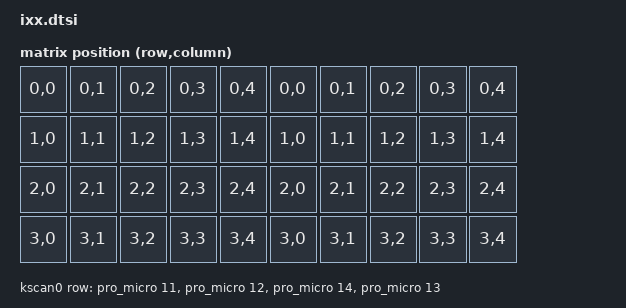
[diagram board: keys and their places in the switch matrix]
/*
 * Copyright (c) 2020 The ZMK Contributors
 *
 * SPDX-License-Identifier: MIT
 */

#include <dt-bindings/zmk/matrix_transform.h>

/ {
    chosen {
        zmk,kscan = &kscan0;
        zmk,matrix_transform = &default_transform;
    };

    default_transform: keymap_transform_0 {
        compatible = "zmk,matrix-transform";
        columns = <10>;
        rows = <4>;
// | SW1  | SW2  | SW3  | SW4  | SW5  |   | SW1  | SW2  | SW3  | SW4  | SW5  |
// | SW6  | SW7  | SW8  | SW9  | SW10 |   | SW6  | SW7  | SW8  | SW9  | SW10 |
// | SW11 | SW12 | SW13 | SW14 | SW15 |   | SW11 | SW12 | SW13 | SW14 | SW15 |
// | SW16 | SW17 | SW18 | SW19 | SW20 |   | SW16 | SW17 | SW18 | SW19 | SW20 |
        map = <
        RC(0,0) RC(0,1) RC(0,2) RC(0,3) RC(0,4)   RC(0,0) RC(0,1) RC(0,2) RC(0,3) RC(0,4) 
        RC(1,0) RC(1,1) RC(1,2) RC(1,3) RC(1,4)   RC(1,0) RC(1,1) RC(1,2) RC(1,3) RC(1,4) 
        RC(2,0) RC(2,1) RC(2,2) RC(2,3) RC(2,4)   RC(2,0) RC(2,1) RC(2,2) RC(2,3) RC(2,4) 
        RC(3,0) RC(3,1) RC(3,2) RC(3,3) RC(3,4)   RC(3,0) RC(3,1) RC(3,2) RC(3,3) RC(3,4) 
        >;
    };

    kscan0: kscan {
        compatible = "zmk,kscan-gpio-matrix";

        diode-direction = "col2row";
        row-gpios
            = <&pro_micro 11 (GPIO_ACTIVE_HIGH | GPIO_PULL_DOWN)>
            , <&pro_micro 12 (GPIO_ACTIVE_HIGH | GPIO_PULL_DOWN)>
            , <&pro_micro 14 (GPIO_ACTIVE_HIGH | GPIO_PULL_DOWN)>
            , <&pro_micro 13 (GPIO_ACTIVE_HIGH | GPIO_PULL_DOWN)>
            ;

    };
};
